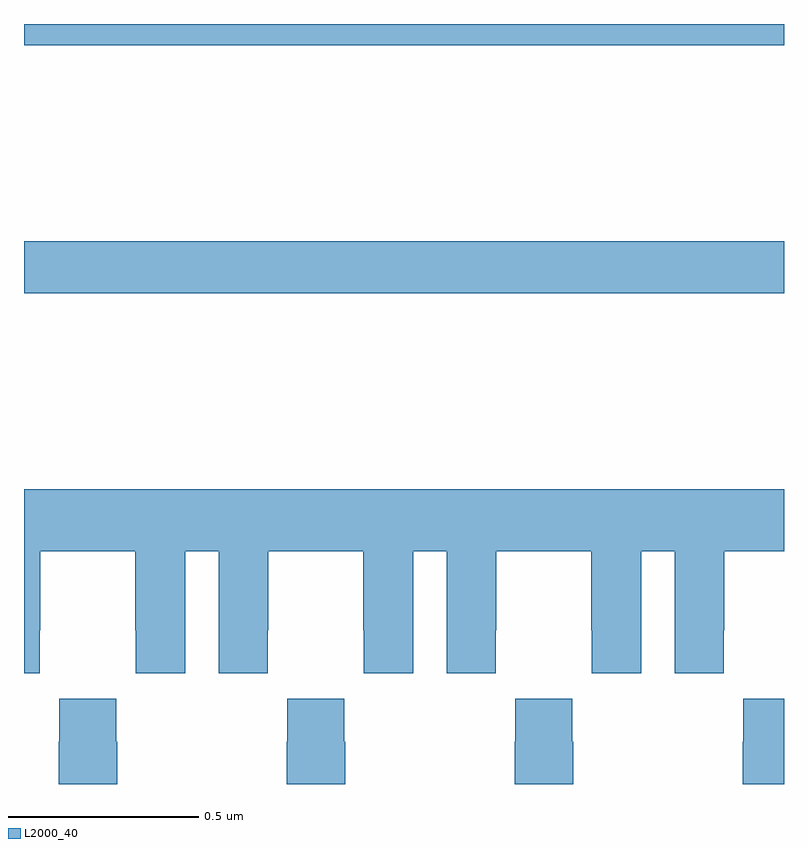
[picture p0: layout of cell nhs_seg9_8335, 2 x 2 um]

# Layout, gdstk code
import gdstk
lib = gdstk.Library(unit=1e-6, precision=1e-09)
def R(c, l, rs):  # rectangles x0, y0, x1, y1
    for r in rs: c.add(gdstk.rectangle(r[:2], r[2:], *l))
def P(c, l, *ps):  # polygons
    for p in ps: c.add(gdstk.Polygon(p, *l))
L2000_40 = (2000, 40)

nhs_seg9_8335 = lib.new_cell('nhs_seg9_8335')
R(nhs_seg9_8335, L2000_40, [(216,1171.792,218,1171.928), (216,1172.444,218,1172.5)])
P(nhs_seg9_8335, L2000_40, [(216.042,1170.904),(216.043,1170.904),(216.043,1171.112),(216.293,1171.112),(216.293,1170.904),(216.294,1170.904),(216.294,1170.792),(216.424,1170.792),(216.424,1171.112),(216.512,1171.112),(216.512,1170.792),(216.642,1170.792),(216.642,1170.904),(216.643,1170.904),(216.643,1171.112),(216.893,1171.112),(216.893,1170.904),(216.894,1170.904),(216.894,1170.792),(217.024,1170.792),(217.024,1171.112),(217.112,1171.112),(217.112,1170.792),(217.242,1170.792),(217.242,1170.904),(217.243,1170.904),(217.243,1171.112),(217.493,1171.112),(217.493,1170.904),(217.494,1170.904),(217.494,1170.792),(217.624,1170.792),(217.624,1171.112),(217.712,1171.112),(217.712,1170.792),(217.842,1170.792),(217.842,1170.904),(217.843,1170.904),(217.843,1171.112),(218,1171.112),(218,1171.276),(216,1171.276),(216,1170.792),(216.042,1170.792)],
  [(216.246,1170.611),(216.243,1170.611),(216.243,1170.724),(216.093,1170.724),(216.093,1170.611),(216.091,1170.611),(216.091,1170.5),(216.246,1170.5)],
  [(216.846,1170.611),(216.843,1170.611),(216.843,1170.724),(216.693,1170.724),(216.693,1170.611),(216.691,1170.611),(216.691,1170.5),(216.846,1170.5)],
  [(217.446,1170.611),(217.443,1170.611),(217.443,1170.724),(217.293,1170.724),(217.293,1170.611),(217.291,1170.611),(217.291,1170.5),(217.446,1170.5)],
  [(218,1170.724),(217.893,1170.724),(217.893,1170.611),(217.891,1170.611),(217.891,1170.5),(218,1170.5)])

lib.write_gds('nhs_seg9_8335.gds')
